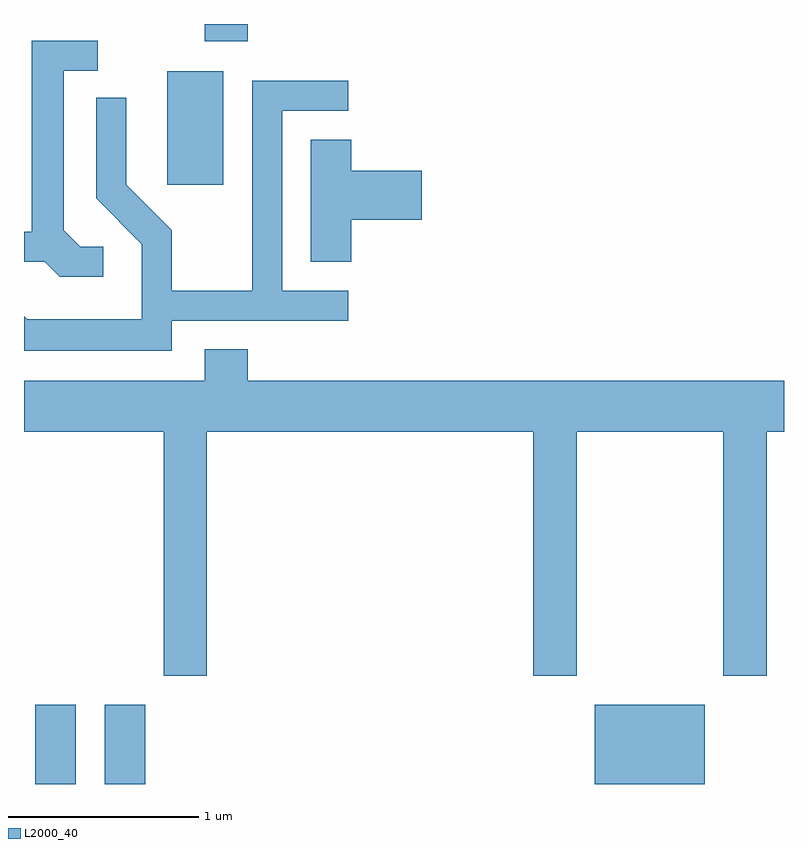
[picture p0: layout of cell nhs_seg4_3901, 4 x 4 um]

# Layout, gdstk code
import gdstk
lib = gdstk.Library(unit=1e-6, precision=1e-09)
def R(c, l, rs):  # rectangles x0, y0, x1, y1
    for r in rs: c.add(gdstk.rectangle(r[:2], r[2:], *l))
def P(c, l, *ps):  # polygons
    for p in ps: c.add(gdstk.Polygon(p, *l))
L2000_40 = (2000, 40)

nhs_seg4_3901 = lib.new_cell('nhs_seg4_3901')
R(nhs_seg4_3901, L2000_40, [(299.671,1303.982,299.884,1304.399), (300.036,1303.982,300.249,1304.399), (302.616,1303.982,303.194,1304.399), (300.366,1307.136,300.659,1307.734), (300.561,1307.891,300.789,1307.982)])
P(nhs_seg4_3901, L2000_40, [(300.028,1306.809),(299.907,1306.809),(299.819,1306.897),(299.819,1307.736),(299.998,1307.736),(299.998,1307.894),(299.651,1307.894),(299.651,1306.889),(299.611,1306.889),(299.611,1306.731),(299.719,1306.731),(299.799,1306.651),(300.028,1306.651)],
  [(300.389,1306.421),(301.318,1306.421),(301.318,1306.579),(300.969,1306.579),(300.969,1307.526),(301.318,1307.526),(301.318,1307.684),(300.811,1307.684),(300.811,1306.579),(300.389,1306.579),(300.389,1306.897),(300.149,1307.137),(300.149,1307.593),(299.991,1307.593),(299.991,1307.064),(300.231,1306.824),(300.231,1306.429),(299.627,1306.429),(299.611,1306.445),(299.611,1306.261),(300.389,1306.261)],
  [(301.334,1306.951),(301.704,1306.951),(301.704,1307.209),(301.334,1307.209),(301.334,1307.374),(301.121,1307.374),(301.121,1306.731),(301.334,1306.731)],
  [(300.574,1305.836),(302.291,1305.836),(302.291,1304.551),(302.519,1304.551),(302.519,1305.836),(303.291,1305.836),(303.291,1304.551),(303.519,1304.551),(303.519,1305.836),(303.611,1305.836),(303.611,1306.104),(300.789,1306.104),(300.789,1306.269),(300.561,1306.269),(300.561,1306.104),(299.611,1306.104),(299.611,1305.836),(300.346,1305.836),(300.346,1304.551),(300.574,1304.551)])

lib.write_gds('nhs_seg4_3901.gds')
